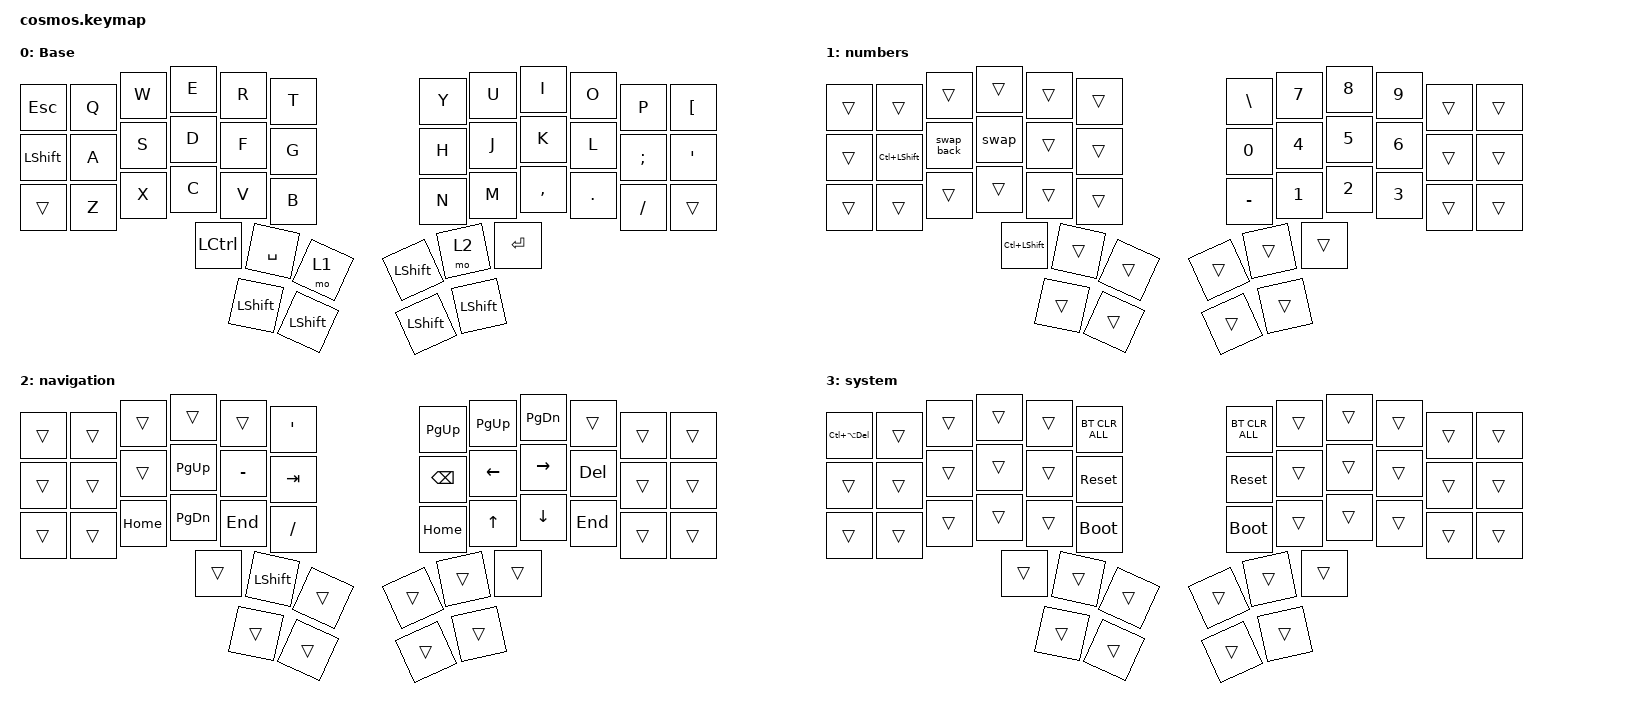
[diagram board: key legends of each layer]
#include <behaviors.dtsi>
#include <dt-bindings/zmk/bt.h>
#include <dt-bindings/zmk/keys.h>

/ {
    combos {
        compatible = "zmk,combos";

        sys_left {
            bindings = <&mo 3>;
            key-positions = <38 36>;
        };

        sys_right {
            bindings = <&mo 3>;
            key-positions = <39 41>;
        };
    };

    behaviors {
        swap: swapper {
            compatible = "zmk,behavior-tri-state";
            label = "SWAPPER";
            #binding-cells = <0>;
            bindings = <&kt LALT>, <&kp TAB>, <&kt LALT>;

            ignored-key-positions = <14>;
        };

        // Alt is only held while &swap is active: Shift+Tab then, Ctrl+Shift otherwise.
        // keep-mods is required so Alt stays held and the window switcher stays open.

        swap_back: swap_back {
            compatible = "zmk,behavior-mod-morph";
            label = "SWAP_BACK";
            bindings = <&kp LC(LEFT_SHIFT)>, <&kp LS(TAB)>;

            #binding-cells = <0>;
            mods = <(MOD_LALT)>;
            keep-mods = <(MOD_LALT)>;
        };
    };

    keymap {
        compatible = "zmk,keymap";

        base {
            display-name = "Base";
            bindings = <
&kp ESCAPE      &kp Q  &kp W  &kp E      &kp R           &kp T           &kp Y           &kp U           &kp I      &kp O       &kp P          &kp LEFT_BRACKET
&kp LEFT_SHIFT  &kp A  &kp S  &kp D      &kp F           &kp G           &kp H           &kp J           &kp K      &kp L       &kp SEMICOLON  &kp SQT
&trans          &kp Z  &kp X  &kp C      &kp V           &kp B           &kp N           &kp M           &kp COMMA  &kp PERIOD  &kp SLASH      &trans
                              &kp LCTRL  &kp SPACE       &mo 1           &kp LEFT_SHIFT  &mo 2           &kp ENTER
                                         &kp LEFT_SHIFT  &kp LEFT_SHIFT  &kp LEFT_SHIFT  &kp LEFT_SHIFT
            >;
        };

        numbers {
            bindings = <
&trans  &trans              &trans      &trans              &trans  &trans  &kp BACKSLASH  &kp N7  &kp N8  &kp N9  &trans  &trans
&trans  &kp LC(LEFT_SHIFT)  &swap_back  &swap               &trans  &trans  &kp N0         &kp N4  &kp N5  &kp N6  &trans  &trans
&trans  &trans              &trans      &trans              &trans  &trans  &kp MINUS      &kp N1  &kp N2  &kp N3  &trans  &trans
                                        &kp LC(LEFT_SHIFT)  &trans  &trans  &trans         &trans  &trans
                                                            &trans  &trans  &trans         &trans
            >;
        };

        navigation {
            bindings = <
&trans  &trans  &trans    &trans         &trans          &kp SQT    &kp PG_UP      &kp PG_UP  &kp PAGE_DOWN  &trans      &trans  &trans
&trans  &trans  &trans    &kp PG_UP      &kp MINUS       &kp TAB    &kp BACKSPACE  &kp LEFT   &kp RIGHT      &kp DELETE  &trans  &trans
&trans  &trans  &kp HOME  &kp PAGE_DOWN  &kp END         &kp SLASH  &kp HOME       &kp UP     &kp DOWN       &kp END     &trans  &trans
                          &trans         &kp LEFT_SHIFT  &trans     &trans         &trans     &trans
                                         &trans          &trans     &trans         &trans
            >;
        };

        system {
            bindings = <
&kp LC(LA(DEL))  &trans  &trans  &trans  &trans  &bt BT_CLR_ALL  &bt BT_CLR_ALL  &trans  &trans  &trans  &trans  &trans
&trans           &trans  &trans  &trans  &trans  &sys_reset      &sys_reset      &trans  &trans  &trans  &trans  &trans
&trans           &trans  &trans  &trans  &trans  &bootloader     &bootloader     &trans  &trans  &trans  &trans  &trans
                                 &trans  &trans  &trans          &trans          &trans  &trans
                                         &trans  &trans          &trans          &trans
            >;
        };
    };
};
